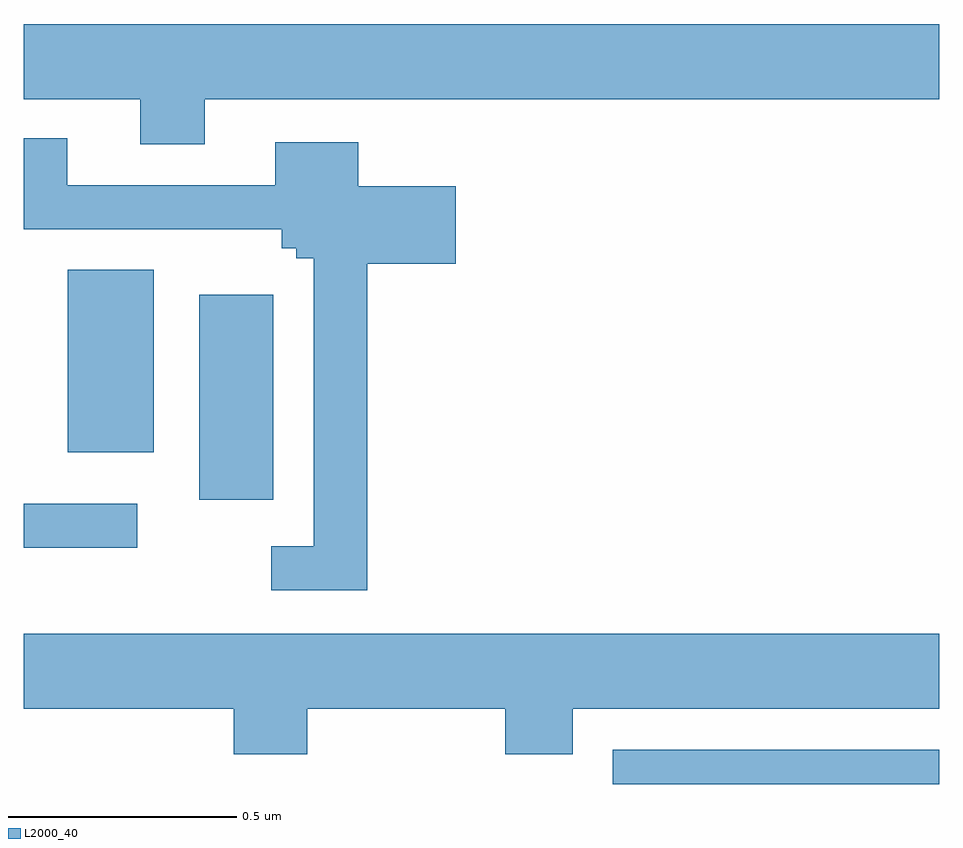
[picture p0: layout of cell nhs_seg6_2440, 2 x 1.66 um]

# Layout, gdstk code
import gdstk
lib = gdstk.Library(unit=1e-6, precision=1e-09)
def R(c, l, rs):  # rectangles x0, y0, x1, y1
    for r in rs: c.add(gdstk.rectangle(r[:2], r[2:], *l))
def P(c, l, *ps):  # polygons
    for p in ps: c.add(gdstk.Polygon(p, *l))
L2000_40 = (2000, 40)

nhs_seg6_2440 = lib.new_cell('nhs_seg6_2440')
R(nhs_seg6_2440, L2000_40, [(144.287,952.5,145,952.575), (143,953.016,143.248,953.112), (143.384,953.121,143.545,953.569), (143.096,953.225,143.284,953.623)])
P(nhs_seg6_2440, L2000_40, [(143.395,953.996),(145,953.996),(145,954.16),(143,954.16),(143,953.996),(143.255,953.996),(143.255,953.897),(143.395,953.897)],
  [(143.75,953.636),(143.944,953.636),(143.944,953.806),(143.731,953.806),(143.731,953.902),(143.549,953.902),(143.549,953.808),(143.095,953.808),(143.095,953.911),(143,953.911),(143,953.712),(143.564,953.712),(143.564,953.67),(143.595,953.67),(143.595,953.648),(143.634,953.648),(143.634,953.019),(143.541,953.019),(143.541,952.923),(143.75,952.923)],
  [(143.619,952.664),(144.052,952.664),(144.052,952.565),(144.199,952.565),(144.199,952.664),(145,952.664),(145,952.828),(143,952.828),(143,952.664),(143.459,952.664),(143.459,952.565),(143.619,952.565)])

lib.write_gds('nhs_seg6_2440.gds')
